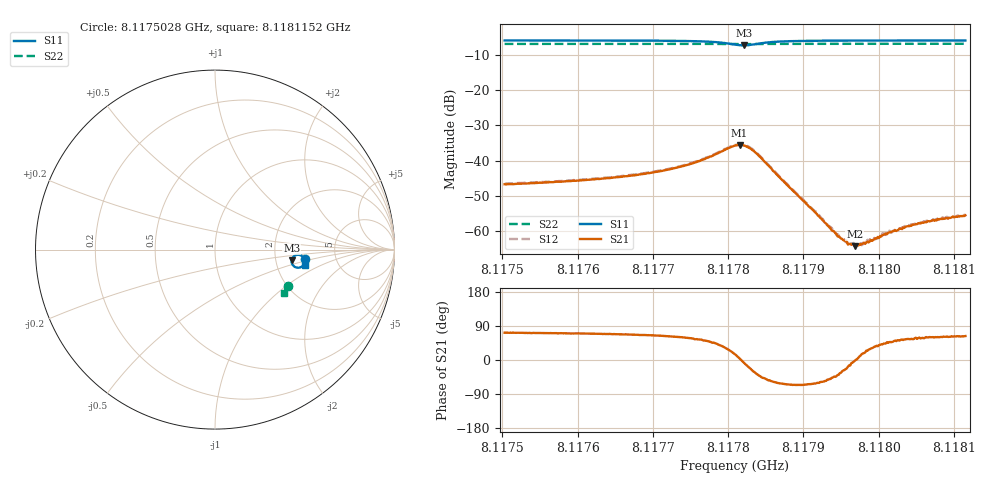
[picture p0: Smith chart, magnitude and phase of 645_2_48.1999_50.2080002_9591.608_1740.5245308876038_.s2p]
#  HZ  S  RI  R  50.00
! Rohde & Schwarz Vector Network Analyzer
! Rohde-Schwarz,ZNB20-2Port,1311601062101988,3.16
! Created: UTC 3/20/2024, 12:04:59 PM
! freq[Hz]  re:S11  im:S11  re:S21  im:S21  re:S12  im:S12  re:S22  im:S22
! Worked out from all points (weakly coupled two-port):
!   401 points, 8.1175028 GHz to 8.1181152 GHz, reference 50 ohm
!   highest |S21| = -35.55 dB at 8.1178151 GHz (marker M1); lowest = -64.3 dB at 8.1179682 GHz (marker M2)
!   lowest |S11| = -7.3 dB at 8.1178213 GHz (marker M3), VSWR 2.52, Z = 123 - j17.7 ohm
!   |S11| at or under -10 dB: nowhere
!   |S22| runs from -6.9 to -6.9 dB; largest |S21 - S12| = 0.0006
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8.11750285e9  0.5039 -0.0549  0.00142 0.0044  0.00145 0.0045  0.4052 -0.2015
8.11760541e9  0.5016 -0.0655  0.0018 0.00494  0.00187 0.005  0.4022 -0.2081
8.11766358e9  0.4996 -0.0729  0.00226 0.00554  0.00235 0.00565  0.4004 -0.2118
8.11770797e9  0.4962 -0.0805  0.00305 0.00634  0.00317 0.00647  0.3989 -0.2147
8.1177539e9  0.4872 -0.092  0.0051 0.0077  0.00526 0.00787  0.397 -0.2178
8.11780901e9  0.4344 -0.0872  0.0158 0.00422  0.0161 0.00435  0.3933 -0.2204
8.11781513e9  0.4279 -0.0743  0.0167 0.00114  0.017 0.00124  0.3928 -0.2202
8.11782125e9  0.4273 -0.0587  0.0161 -0.00222  0.0165 -0.00218  0.3928 -0.2198
8.11782891e9  0.4356 -0.0414  0.0139 -0.00556  0.0142 -0.00588  0.3932 -0.2197
8.11784115e9  0.4581 -0.0292  0.00864 -0.00767  0.00903 -0.00781  0.3939 -0.2202
8.11786718e9  0.4869 -0.0381  0.00288 -0.00518  0.00295 -0.00537  0.3942 -0.2223
8.11791157e9  0.4982 -0.0558  0.000924 -0.00181  0.000867 -0.00187  0.3931 -0.2258
8.11794831e9  0.4999 -0.0645  0.00067 -0.000466  0.000616 -0.000532  0.392 -0.2285
8.11795903e9  0.5003 -0.0665  0.000614 -0.000198  0.000609 -0.000238  0.3916 -0.2291
8.11796821e9  0.5004 -0.0682  0.000611 -1.96e-05  0.000615 -1.67e-05  0.3913 -0.2299
8.11797586e9  0.5004 -0.0693  0.000625 0.00013  0.000656 0.000162  0.391 -0.2303
8.11799576e9  0.5005 -0.0724  0.00064 0.00046  0.000638 0.000423  0.3904 -0.2315
8.11800495e9  0.5003 -0.0737  0.000657 0.000577  0.00069 0.000629  0.39 -0.2323
8.11801413e9  0.5004 -0.0748  0.000648 0.000703  0.000708 0.000726  0.3898 -0.2328
8.11803557e9  0.5001 -0.0775  0.000663 0.000934  0.000717 0.00094  0.3891 -0.2341
8.11806312e9  0.4998 -0.0806  0.000656 0.00116  0.000714 0.0012  0.3881 -0.2358
8.11811517e9  0.4992 -0.086  0.000754 0.00149  0.000763 0.00153  0.3863 -0.2391
